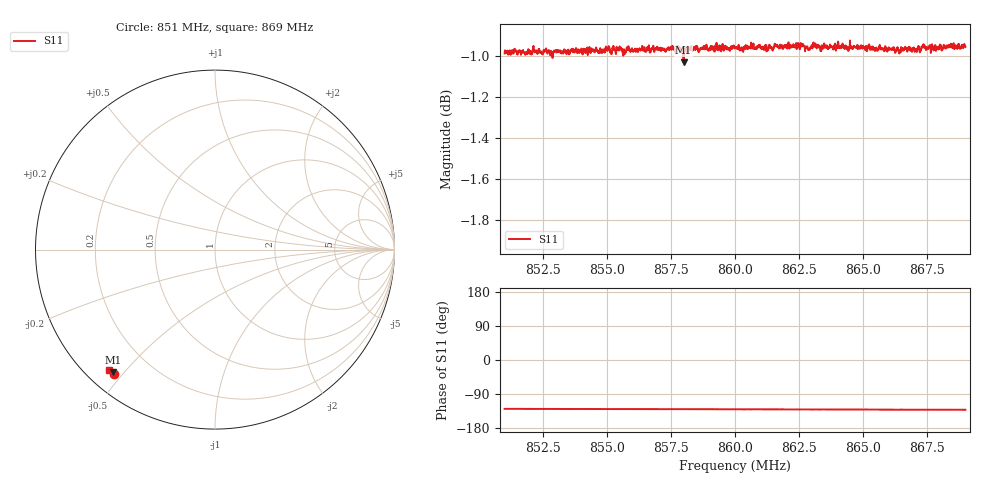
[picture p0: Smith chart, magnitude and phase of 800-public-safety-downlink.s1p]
! Calibrated averaged scanner-service zoom
# Hz S RI R 50
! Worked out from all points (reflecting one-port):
!   2001 points, 851 MHz to 869 MHz, reference 50 ohm
!   lowest |S11| = -1.0 dB at 857.99 MHz (marker M1), VSWR 16.86, Z = 3.62 - j23.4 ohm
!   phase of S11 starts at -129 deg and turns -2 deg over the sweep
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8.51e8  -0.561 -0.694
8.5325e8  -0.5638 -0.6921
8.54519e8  -0.566 -0.6907
8.54753e8  -0.5672 -0.6916
8.55023e8  -0.5665 -0.6913
8.555e8  -0.5696 -0.6905
8.55662e8  -0.5676 -0.6913
8.55833e8  -0.5699 -0.6914
8.56022e8  -0.5687 -0.6888
8.5775e8  -0.5714 -0.6885
8.57993e8  -0.5673 -0.6832
8.58461e8  -0.5732 -0.6866
8.59199e8  -0.5724 -0.6858
8.5973e8  -0.5757 -0.6848
8.6e8  -0.5762 -0.6848
8.60252e8  -0.5763 -0.6841
8.60639e8  -0.5795 -0.685
8.6225e8  -0.5801 -0.6832
8.62637e8  -0.5803 -0.6839
8.62898e8  -0.5808 -0.6805
8.63123e8  -0.5816 -0.6811
8.645e8  -0.5842 -0.6794
8.65319e8  -0.585 -0.6784
8.65526e8  -0.5861 -0.6769
8.65706e8  -0.585 -0.677
8.66345e8  -0.5884 -0.6741
8.6675e8  -0.5882 -0.6731
8.69e8  -0.5915 -0.6724
